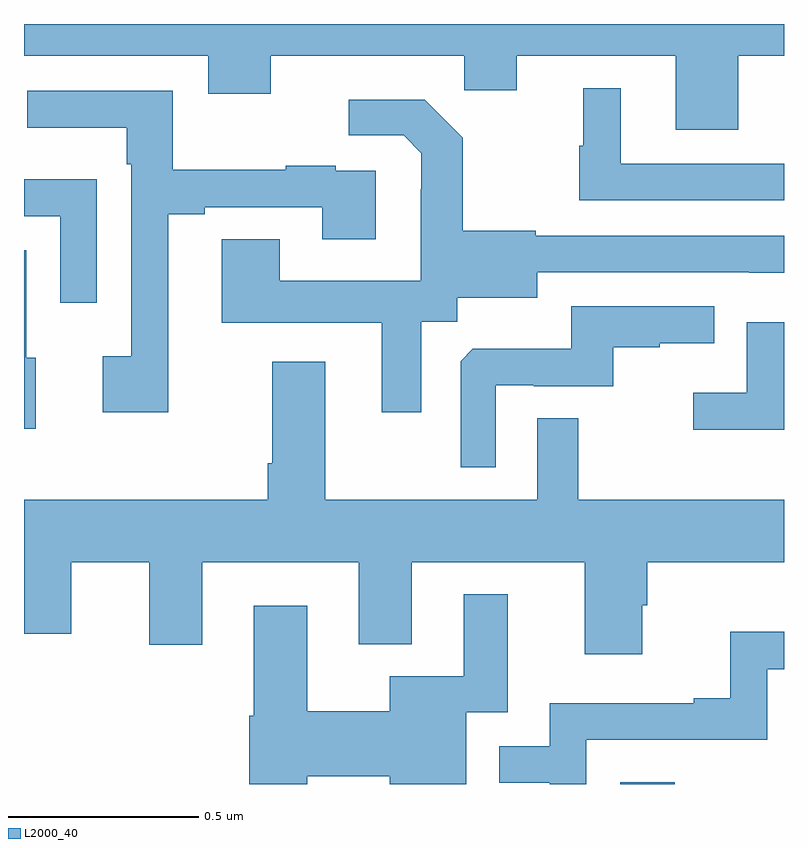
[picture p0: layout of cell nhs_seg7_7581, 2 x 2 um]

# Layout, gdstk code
import gdstk
lib = gdstk.Library(unit=1e-6, precision=1e-09)
def R(c, l, rs):  # rectangles x0, y0, x1, y1
    for r in rs: c.add(gdstk.rectangle(r[:2], r[2:], *l))
def P(c, l, *ps):  # polygons
    for p in ps: c.add(gdstk.Polygon(p, *l))
L2000_40 = (2000, 40)

nhs_seg7_7581 = lib.new_cell('nhs_seg7_7581')
R(nhs_seg7_7581, L2000_40, [(214.569,1032,214.713,1032.004)])
P(nhs_seg7_7581, L2000_40, [(214.879,1033.916),(215,1033.916),(215,1034),(213,1034),(213,1033.916),(213.485,1033.916),(213.485,1033.817),(213.649,1033.817),(213.649,1033.916),(214.159,1033.916),(214.159,1033.826),(214.297,1033.826),(214.297,1033.916),(214.715,1033.916),(214.715,1033.722),(214.879,1033.722)],
  [(215,1033.632),(214.57,1033.632),(214.57,1033.831),(214.472,1033.831),(214.472,1033.68),(214.461,1033.68),(214.461,1033.536),(215,1033.536)],
  [(213.379,1033.5),(213.475,1033.5),(213.475,1033.518),(213.785,1033.518),(213.785,1033.434),(213.925,1033.434),(213.925,1033.614),(213.821,1033.614),(213.821,1033.627),(213.689,1033.627),(213.689,1033.616),(213.391,1033.616),(213.391,1033.824),(213.009,1033.824),(213.009,1033.727),(213.27,1033.727),(213.27,1033.631),(213.282,1033.631),(213.282,1033.126),(213.207,1033.126),(213.207,1032.978),(213.379,1032.978)],
  [(214.045,1033.216),(214.14,1033.216),(214.14,1033.28),(214.351,1033.28),(214.351,1033.347),(214.909,1033.347),(214.909,1033.346),(215,1033.346),(215,1033.443),(214.347,1033.443),(214.347,1033.456),(214.155,1033.456),(214.155,1033.701),(214.055,1033.801),(213.855,1033.801),(213.855,1033.707),(213.999,1033.707),(214.046,1033.66),(214.046,1033.565),(214.044,1033.565),(214.044,1033.324),(213.673,1033.324),(213.673,1033.433),(213.521,1033.433),(213.521,1033.214),(213.941,1033.214),(213.941,1032.978),(214.045,1032.978)],
  [(213.192,1033.591),(213,1033.591),(213,1033.494),(213.096,1033.494),(213.096,1033.266),(213.192,1033.266)],
  [(213.031,1033.122),(213.006,1033.122),(213.006,1033.404),(213,1033.404),(213,1032.935),(213.031,1032.935)],
  [(214.242,1033.05),(214.342,1033.05),(214.342,1033.047),(214.55,1033.047),(214.55,1033.149),(214.673,1033.149),(214.673,1033.16),(214.817,1033.16),(214.817,1033.257),(214.44,1033.257),(214.44,1033.145),(214.181,1033.145),(214.149,1033.113),(214.149,1032.833),(214.242,1032.833)],
  [(215,1033.215),(214.902,1033.215),(214.902,1033.03),(214.761,1033.03),(214.761,1032.932),(215,1032.932)],
  [(214.627,1032.471),(214.64,1032.471),(214.64,1032.584),(215,1032.584),(215,1032.748),(214.459,1032.748),(214.459,1032.962),(214.35,1032.962),(214.35,1032.748),(213.793,1032.748),(213.793,1033.111),(213.653,1033.111),(213.653,1032.844),(213.641,1032.844),(213.641,1032.748),(213,1032.748),(213,1032.396),(213.124,1032.396),(213.124,1032.584),(213.329,1032.584),(213.329,1032.366),(213.469,1032.366),(213.469,1032.584),(213.881,1032.584),(213.881,1032.368),(214.021,1032.368),(214.021,1032.584),(214.475,1032.584),(214.475,1032.342),(214.627,1032.342)],
  [(213.745,1032.02),(213.962,1032.02),(213.962,1032),(214.164,1032),(214.164,1032.189),(214.273,1032.189),(214.273,1032.499),(214.157,1032.499),(214.157,1032.283),(213.962,1032.283),(213.962,1032.192),(213.745,1032.192),(213.745,1032.469),(213.605,1032.469),(213.605,1032.18),(213.593,1032.18),(213.593,1032),(213.745,1032)],
  [(214.479,1032.117),(214.956,1032.117),(214.956,1032.302),(215,1032.302),(215,1032.401),(214.858,1032.401),(214.858,1032.226),(214.763,1032.226),(214.763,1032.213),(214.383,1032.213),(214.383,1032.099),(214.25,1032.099),(214.25,1032.003),(214.383,1032.003),(214.383,1032),(214.479,1032)])

lib.write_gds('nhs_seg7_7581.gds')
